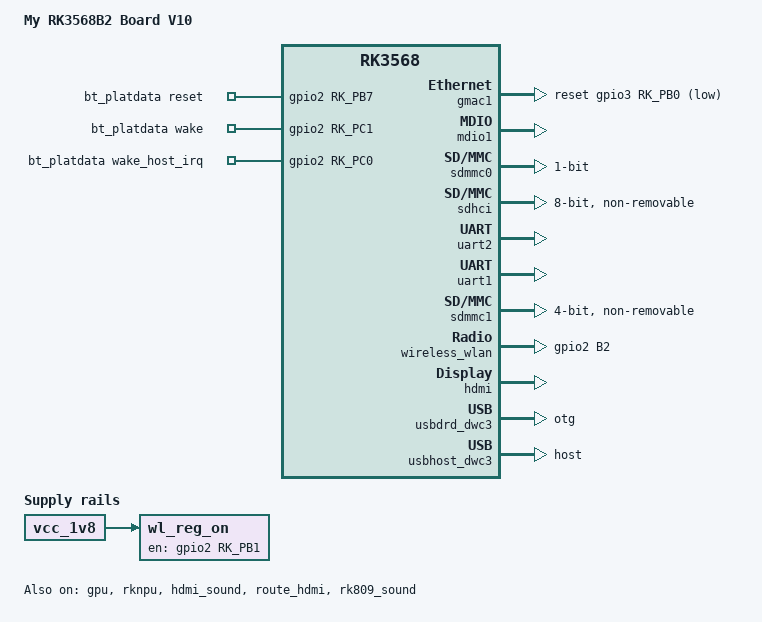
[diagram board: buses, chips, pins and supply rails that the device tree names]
// SPDX-License-Identifier: (GPL-2.0+ OR MIT)
/*
 * RK3568B2 自定义板 V10
 *
 * 设计思路：复用 Rockchip RK3568 EVB1 参考设计（电源树 / PHY / USB 均已验证），
 * 只关掉本板没有的外设，并覆盖板级差异。
 *
 *   SoC    : RK3568B2 (FCCSP, 2.0GHz)
 *   DDR    : LPDDR4X 4GB x32 (RS1G32LO4D2BDS-53BT, 1560MHz)
 *   PMIC   : RK809-5 @I2C0 0x20 + TCS4525 @I2C0 0x1c (VDD_CPU)
 *   存储   : eMMC 64GB (SDINBDA4-64G, HS200) + SD 卡
 *   网络   : 1x RTL8211F-CG (GMAC1, RGMII) + AP6212 (WiFi SDIO / BT UART)
 *   显示   : HDMI
 *   音频   : RK809 内置 codec (3.5mm 耳机 + MIC)
 *   USB    : Type-C OTG (仅 USB2.0) + USB3.0 Host
 *   调试   : UART2 @ 1500000
 *
 * "myboard" 是占位符，改成自己的板名即可。
 */

/dts-v1/;

#include <dt-bindings/gpio/gpio.h>
#include <dt-bindings/pinctrl/rockchip.h>
#include "rk3568-evb1-ddr4-v10.dtsi"

/ {
	model = "My RK3568B2 Board V10";
	compatible = "rockchip,rk3568-myboard-v10", "rockchip,rk3568";

	/* /memory 由 u-boot 按实际容量填充，不要硬编码 */

	/* 本板无 VGA，其电源会占用 GPIO0_D5 */
	vcc3v3_vga: vcc3v3-vga {
		status = "disabled";
	};

	/* 本板无 M.2/PCIe，其 3.3V 电源会占用 GPIO0_D4 */
	vcc3v3_pcie: vcc3v3-pcie {
		status = "disabled";
	};
};

/* ==================== GPU / NPU ==================== */

&gpu {
	/* mali-supply / OPP / 电源域全部继承 EVB1 */
	status = "okay";
};

&rknpu {
	/* rk356x.dtsi 里 npu 节点只有 interrupts 没有 interrupt-names，
	 * 补上后驱动不会再打印 "IRQ npu_irq not found" */
	interrupt-names = "npu_irq";
	status = "okay";
};

/* ==================== 以太网：GMAC1 / RTL8211F ==================== */
/*
 * RTL8211F 接 GMAC1（m1 复用）：
 *   MDC/MDIO -> GPIO4_B6/B7    TXD/RXD -> GPIO4_A0~A6 + GPIO3_D6/D7
 *   PHY 复位 -> GMAC1_RSTN_GPIO3_B0
 * GMAC0 的引脚被 SDMMC1(WiFi) 和 UART1(BT) 占用，必须关闭。
 */
&gmac0 {
	status = "disabled";
};

&mdio0 {
	status = "disabled";
};

&gmac1 {
	snps,reset-gpio = <&gpio3 RK_PB0 GPIO_ACTIVE_LOW>;
	status = "okay";
};

&mdio1 {
	status = "okay";
};

/* ==================== 存储 ==================== */

/* SD 卡：DAT1~3 走线不稳，回退 1-bit 保证可用 */
&sdmmc0 {
	max-frequency = <50000000>;
	bus-width = <1>;
	/delete-property/ sd-uhs-sdr104;
	status = "okay";
};

/* eMMC：8-bit / HS200 */
&sdhci {
	bus-width = <8>;
	non-removable;
	no-sd;
	no-sdio;
	max-frequency = <200000000>;
	status = "okay";
};

&sfc {
	status = "disabled";	/* 无 SPI NAND */
};

&nandc0 {
	status = "disabled";
};

/* ==================== IO 电压域 ==================== */
/*
 * 驱动只处理 pmuio2 / vccio1 / vccio3~7（pmuio1 和 vccio2 是空实现）。
 *
 *   VCCIO1 = LDO4  vccio_acodec  3.0V
 *   VCCIO2 = VCC_1V8 (1.8V)，由 FLASH_VOL_SEL 引脚硬件决定，驱动不处理
 *   VCCIO3 = LDO5  vccio_sd
 *   VCCIO4 = VCCIO_WL，0Ω 选 **3.3V**（和 AP6212 的 VDDIO 共用）
 *   VCCIO5 = VCC_3V3
 *   VCCIO6 = VCC_1V8 (1.8V)   ← EVB 是 3.3V
 *   VCCIO7 = VCC_3V3
 *
 * 注意：io-domain 只区分 1.8V / 3.3V（一个 bit）。配 1.8V 而实际供 3.3V
 * 会让 IO 单元过驱，长期有损坏风险。改板上 0Ω 时这里要同步改。
 */
&pmu_io_domains {
	status = "okay";

	pmuio2-supply = <&vcc3v3_pmu>;
	vccio1-supply = <&vccio_acodec>;
	vccio3-supply = <&vccio_sd>;
	vccio4-supply = <&vcc_3v3>;	/* VCCIO_WL 选 3.3V */
	vccio5-supply = <&vcc_3v3>;
	vccio6-supply = <&vcc_1v8>;	/* 本板 1.8V */
	vccio7-supply = <&vcc_3v3>;
};

/* ==================== WiFi / BT：AP6212 ==================== */
/*
 * WiFi = SDMMC1（EVB 用 sdmmc2），BT = UART1 m0 + 硬件流控（EVB 用 uart8）
 *
 *   SDMMC1  CLK=GPIO2_B0  CMD=GPIO2_A7  D0~D3=GPIO2_A3~A6
 *   UART1   TX=GPIO2_B4   RX=GPIO2_B3   RTSN=GPIO2_B5  CTSN=GPIO2_B6
 *   WL_REG_ON    = GPIO2_B1      WL_HOST_WAKE = GPIO2_B2
 *   BT_REG_ON    = GPIO2_B7      BT_WAKE      = GPIO2_C1
 *   BT_HOST_WAKE = GPIO2_C0
 */

/* 调试串口，rk356x.dtsi 里默认 disabled */
&uart2 {
	status = "okay";
};

&uart8 {
	status = "disabled";
};

&uart1 {
	status = "okay";
	pinctrl-names = "default";
	pinctrl-0 = <&uart1m0_xfer &uart1m0_ctsn &uart1m0_rtsn>;
};

&pinctrl {
	wifi-pwrseq-myboard {
		wifi_enable_h_myboard: wifi-enable-h-myboard {
			rockchip,pins = <2 RK_PB1 RK_FUNC_GPIO &pcfg_pull_none>;
		};
	};

	wlan-myboard {
		wifi_host_wake_irq_myboard: wifi-host-wake-irq-myboard {
			rockchip,pins = <2 RK_PB2 RK_FUNC_GPIO &pcfg_pull_down>;
		};
	};
};

/*
 * WL_REG_ON (GPIO2_B1) 原本被 sdio_pwrseq.reset-gpios 和
 * wireless_wlan.WIFI,poweren_gpio 两个独占驱动同时申请，谁先 probe 谁拿到，
 * 另一个静默失败；本板该脚有下拉，无人驱动时保持低电平 → AP6212 不上电。
 * 改由独立 always-on 稳压器统一驱动。
 */
/ {
	wl_reg_on: wl-reg-on {
		compatible = "regulator-fixed";
		regulator-name = "wl_reg_on";
		regulator-always-on;
		regulator-boot-on;
		enable-active-high;
		gpio = <&gpio2 RK_PB1 GPIO_ACTIVE_HIGH>;
		vin-supply = <&vcc_1v8>;
	};
};

&sdio_pwrseq {
	pinctrl-names = "default";
	pinctrl-0 = <&wifi_enable_h_myboard>;
	/delete-property/ reset-gpios;
};

&sdmmc1 {
	max-frequency = <150000000>;
	no-sd;
	no-mmc;
	bus-width = <4>;
	disable-wp;
	cap-sd-highspeed;
	cap-sdio-irq;
	keep-power-in-suspend;
	mmc-pwrseq = <&sdio_pwrseq>;
	non-removable;
	sd-uhs-sdr104;
	pinctrl-names = "default";
	pinctrl-0 = <&sdmmc1_bus4 &sdmmc1_cmd &sdmmc1_clk>;
	status = "okay";
};

&sdmmc2 {
	status = "disabled";
};

&wireless_wlan {
	status = "okay";
	wifi_chip_type = "ap6212";
	/* WL_REG_ON 由 wl_reg_on 稳压器统一驱动，这里不再申请同一个 GPIO */
	/delete-property/ WIFI,poweren_gpio;
	/*
	 * 去掉 OOB 中断：bcmdhd 默认编译为 -DOOB_INTR_ONLY，注册 HW_OOB 后会关掉
	 * SDIO 带内中断，一旦 WL_HOST_WAKE（GPIO2_B2）不通，主机就收不到任何事件。
	 * 配合 patch/0006 把驱动改成带内中断，不再依赖这根线。
	 */
	/delete-property/ WIFI,host_wake_irq;
	pinctrl-names = "default";
	pinctrl-0 = <&wifi_host_wake_irq_myboard>;
};

/*
 * EVB 的 wireless_bluetooth 绑死在 uart8 的引脚上（uart_rts_gpios = GPIO2_B1，
 * 那是本板的 WL_REG_ON），无法通过覆盖属性改掉，所以关掉它另起一个节点。
 */
&wireless_bluetooth {
	status = "disabled";
};

/ {
	bt_platdata: bt-platdata {
		compatible = "bluetooth-platdata";
		bt_port = "/dev/ttyS1";
		clocks = <&rk809 1>;
		clock-names = "ext_clock";

		BT,reset_gpio    = <&gpio2 RK_PB7 GPIO_ACTIVE_HIGH>;	/* BT_REG_ON */
		BT,wake_gpio     = <&gpio2 RK_PC1 GPIO_ACTIVE_HIGH>;	/* HOST_WAKE_BT */
		BT,wake_host_irq = <&gpio2 RK_PC0 GPIO_ACTIVE_HIGH>;	/* BT_WAKE_HOST */

		pinctrl-names = "default";
		pinctrl-0 = <&bt_reg_on_gpio &bt_wake_gpio &bt_host_wake_gpio>;
		status = "okay";
	};
};

&pinctrl {
	bt-myboard {
		bt_reg_on_gpio: bt-reg-on-gpio {
			rockchip,pins = <2 RK_PB7 RK_FUNC_GPIO &pcfg_pull_none>;
		};
		bt_wake_gpio: bt-wake-gpio {
			rockchip,pins = <2 RK_PC1 RK_FUNC_GPIO &pcfg_pull_none>;
		};
		bt_host_wake_gpio: bt-host-wake-gpio {
			rockchip,pins = <2 RK_PC0 RK_FUNC_GPIO &pcfg_pull_up>;
		};
	};
};

/* ==================== 显示：只保留 HDMI ==================== */

&hdmi {
	status = "okay";
};

&hdmi_sound {
	status = "okay";
};

&route_hdmi {
	status = "okay";
};

&dsi0 {
	status = "disabled";
};

&dsi1 {
	status = "disabled";
};

&edp {
	status = "disabled";
};

&route_dsi0 {
	status = "disabled";
};

&route_edp {
	status = "disabled";
};

&dsi0_panel {
	status = "disabled";
};

&dsi1_panel {
	status = "disabled";
};

/* 本板无屏，禁用背光/屏供电，避免占用 GPIO0_C7 等 */
&vcc3v3_lcd0_n {
	status = "disabled";
};

&vcc3v3_lcd1_n {
	status = "disabled";
};

/* ==================== 外部接口 ==================== */

&pcie3x2 {
	status = "disabled";
};

&pcie30phy {
	status = "disabled";
};

&sata2 {
	status = "disabled";
};

/* ==================== USB ==================== */
/*
 * 原理图上两个 USB 口的 VBUS 使能都接到了 GPIO0_A5（复制粘贴笔误），
 * GPIO0_A6 悬空。EVB 里 vcc5v0_otg 只在 OTG host 模式才被拉起，
 * 所以 USB3.0 Host 的 A 口平时没电 —— 这里强制常开。
 *
 * 注意：使能瞬间有大冲击电流。EVB 的输出后级挂了两颗 100µF 钽电容，
 * 会导致 5V 被拉到 PMIC 的 UVLO 以下而掉电复位（表现为无限重启，
 * 且万用表量 VBUS 对地是 2MΩ，看不出问题）。
 * 本板最终把 VBUS 电容定为 47µF：太小带不动 hub，太大上电冲击超限流。
 */
&vcc5v0_otg {
	regulator-always-on;
	regulator-boot-on;
};

&usbdrd_dwc3 {
	dr_mode = "otg";
	maximum-speed = "high-speed";	/* Type-C 只有 USB2.0 */
	status = "okay";
};

&usbhost_dwc3 {
	dr_mode = "host";
	maximum-speed = "super-speed";	/* USB3.0 Host */
	status = "okay";
};

/* ==================== 关掉 EVB 上有、本板没有的外设 ==================== */

/* 摄像头：本板无 MIPI CSI。EVB 的 i2c4 上挂了传感器和 VCM，
 * 不关会在开机时报一堆 read reg failed / Unexpected sensor id */
&dw9714 {
	status = "disabled";
};

&gc8034 {
	status = "disabled";
};

&os04a10 {
	status = "disabled";
};

&ov5695 {
	status = "disabled";
};

&csi2_dphy_hw {
	status = "disabled";
};

&csi2_dphy0 {
	status = "disabled";
};

&rkisp {
	status = "disabled";
};

&rkisp_mmu {
	status = "disabled";
};

&rkisp_vir0 {
	status = "disabled";
};

&vcc_camera {
	status = "disabled";
};

/* 触摸 */
&gt1x {
	status = "disabled";
};

&hynitron {
	status = "disabled";
};

/* RK809 内置 codec → 3.5mm 耳机座。耳机检测沿用 EVB 的 GPIO3_A1，
 * 若插拔无反应，说明本板 HP_DET 接在别的脚上，改 hp-det-gpio */
&rk809_sound {
	status = "okay";
};

/* EVB 的心跳灯在 GPIO0_C0 */
&leds {
	status = "disabled";
};

/* ==================== 电源树 ==================== */
/*
 * 完全继承 EVB1，不做修改：
 *   SW1=vdd_logic  SW2=vdd_gpu  SW3=vcc_ddr  SW4=vdd_npu
 *   LDO1=vdda0v9_image  LDO2=vdda_0v9     LDO3=vdda0v9_pmu
 *   LDO4=vccio_acodec   LDO5=vccio_sd     LDO6=vcc3v3_pmu
 *   LDO7=vcca_1v8       LDO8=vcca1v8_pmu  LDO9=vcca1v8_image
 *   VDD_CPU = TCS4525 @0x1c    PMIC_INT = GPIO0_A3
 *
 * LDO8 (vcca1v8_pmu) 与 VCC1V8_DDR 之间用 0Ω 短接，DDR 的 VDD1 由 PMU 域供电，
 * 掉电/待机时 DDR 能保持自刷新。
 */
